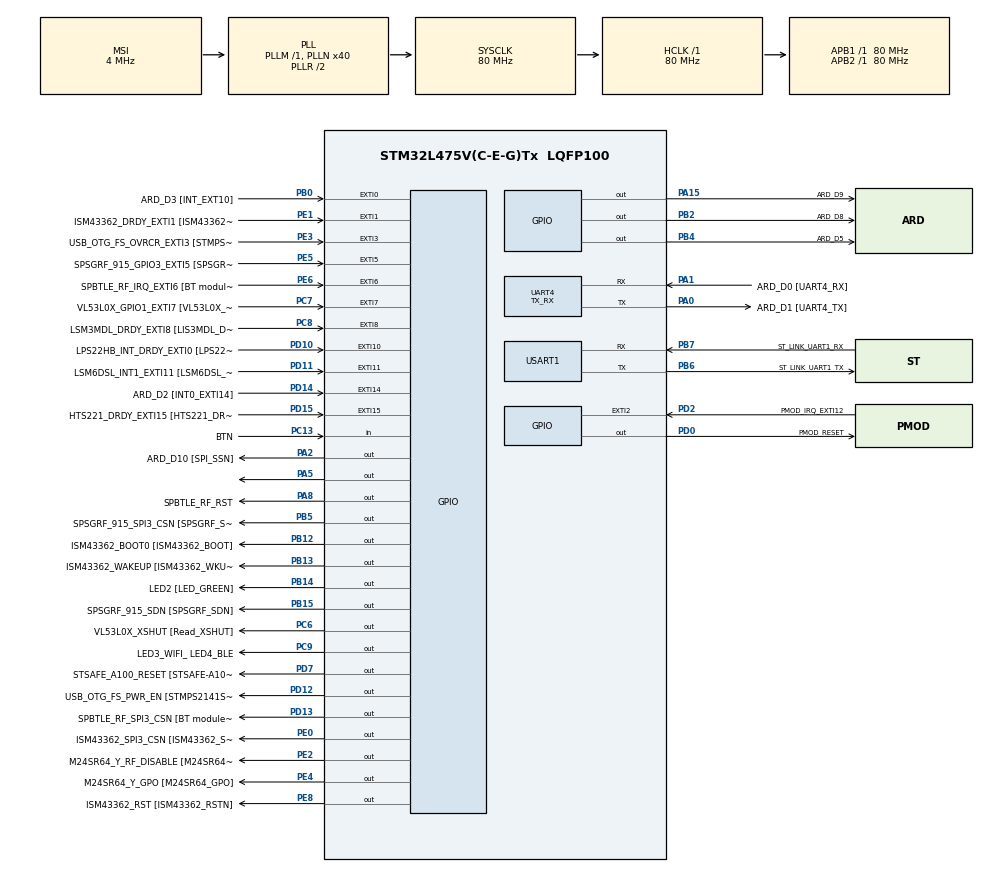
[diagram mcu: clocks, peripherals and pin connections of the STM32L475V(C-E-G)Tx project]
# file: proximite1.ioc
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Mcu.Family=STM32L4
Mcu.Name=STM32L475V(C-E-G)Tx
Mcu.Package=LQFP100
NVIC.EXTI15_10_IRQn=true\:0\:0\:false\:false\:true\:true\:true
NVIC.EXTI9_5_IRQn=true\:0\:0\:false\:false\:true\:true\:true
NVIC.PriorityGroup=NVIC_PRIORITYGROUP_4
PA0.GPIO_Label=ARD_D1 [UART4_TX]
PA0.Mode=Asynchronous
PA0.Signal=UART4_TX
PA1.GPIO_Label=ARD_D0 [UART4_RX]
PA1.Mode=Asynchronous
PA1.Signal=UART4_RX
PA10.GPIO_Label=USB_OTG_FS_ID
PA10.Signal=USB_OTG_FS_ID
PA11.GPIO_Label=USB_OTG_FS_DM
PA11.Signal=USB_OTG_FS_DM
PA12.GPIO_Label=USB_OTG_FS_DP
PA12.Signal=USB_OTG_FS_DP
PA13\ (JTMS-SWDIO).GPIO_Label=SYS_JTMS_SWDIO
PA13\ (JTMS-SWDIO).Mode=Serial_Wire
PA13\ (JTMS-SWDIO).Signal=SYS_JTMS-SWDIO
PA14\ (JTCK-SWCLK).GPIO_Label=SYS_JTCK_SWCLK
PA14\ (JTCK-SWCLK).Mode=Serial_Wire
PA14\ (JTCK-SWCLK).Signal=SYS_JTCK-SWCLK
PA15\ (JTDI).GPIO_Label=ARD_D9
PA15\ (JTDI).Signal=GPIO_Output
PA2.GPIO_Label=ARD_D10 [SPI_SSN]
PA2.Signal=GPIO_Output
PA3.GPIO_Label=ARD_D4
PA3.Signal=S_TIM2_CH4
PA4.GPIO_Label=ARD_D7
PA4.Signal=ADCx_IN9
PA5.Signal=GPIO_Output
PA6.GPIO_Label=ARD_D12 [SPI1_MISO]
PA6.Signal=SPI1_MISO
PA7.GPIO_Label=ARD_D11 [SPI1_MOSI]
PA7.Signal=SPI1_MOSI
PA8.GPIO_Label=SPBTLE_RF_RST
PA8.Signal=GPIO_Output
PA9.GPIO_Label=USB_OTG_FS_VBUS [STMPS2141STR_OUT]
PA9.Signal=USB_OTG_FS_VBUS
PB0.GPIO_Label=ARD_D3 [INT_EXT10]
PB0.Signal=GPXTI0
PB1.GPIO_Label=ARD_D6 [ADC1_IN6]
PB1.Signal=ADCx_IN16
PB10.GPIO_Label=INTERNAL_I2C2_SCL [VL53L0X_SCL]
PB10.Signal=I2C2_SCL
PB11.GPIO_Label=INTERNAL_I2C2_SDA [VL53L0X_SDA]
PB11.Signal=I2C2_SDA
PB12.GPIO_Label=ISM43362_BOOT0 [ISM43362_BOOT]
PB12.Signal=GPIO_Output
PB13.GPIO_Label=ISM43362_WAKEUP [ISM43362_WKUP]
PB13.Signal=GPIO_Output
PB14.GPIO_Label=LED2 [LED_GREEN]
PB14.Signal=GPIO_Output
PB15.GPIO_Label=SPSGRF_915_SDN [SPSGRF_SDN]
PB15.Signal=GPIO_Output
PB2.GPIO_Label=ARD_D8
PB2.Signal=GPIO_Output
PB3\ (JTDO-TRACESWO).GPIO_Label=SYS_JTD0_SWO
PB3\ (JTDO-TRACESWO).Signal=SYS_JTDO-SWO
PB4\ (NJTRST).GPIO_Label=ARD_D5
PB4\ (NJTRST).Signal=GPIO_Output
PB5.GPIO_Label=SPSGRF_915_SPI3_CSN [SPSGRF_SPI_CS]
PB5.PinState=GPIO_PIN_SET
PB5.Signal=GPIO_Output
PB6.GPIO_Label=ST_LINK_UART1_TX
PB6.Mode=Asynchronous
PB6.Signal=USART1_TX
PB7.GPIO_Label=ST_LINK_UART1_RX
PB7.Mode=Asynchronous
PB7.Signal=USART1_RX
PB8.GPIO_Label=ARD_D15 [I2C1_SCL]
PB8.Signal=I2C1_SCL
PB9.GPIO_Label=ARD_D14 [I2C1_SDA]
PB9.Signal=I2C1_SDA
PC0.GPIO_Label=ARD_A5 [ADC]
PC0.Signal=ADCx_IN1
PC1.GPIO_Label=ARD_A4 [ADC]
PC1.Signal=ADCx_IN2
PC10.GPIO_Label=INTERNAL_SPI3_SCK [BT module_SPI_SCLK] [ISM43362_SCK]
PC10.Signal=SPI3_SCK
PC11.GPIO_Label=INTERNAL_SPI3_MISO [BT module_SPI_MISO] [ISM43362_MISO]
PC11.Signal=SPI3_MISO
PC12.GPIO_Label=INTERNAL_SPI3_MOSI [BT module_SPI_MOSI] [ISM43362_MOSI]
PC12.Signal=SPI3_MOSI
PC13.GPIO_Label=BTN
PC13.Signal=GPIO_Input
PC14-OSC32_IN\ (PC14).Mode=LSE-External-Oscillator
PC14-OSC32_IN\ (PC14).Signal=RCC_OSC32_IN
PC15-OSC32_OUT\ (PC15).Mode=LSE-External-Oscillator
PC15-OSC32_OUT\ (PC15).Signal=RCC_OSC32_OUT
PC2.GPIO_Label=ARD_A3 [ADC]
PC2.Signal=ADCx_IN3
PC3.GPIO_Label=ARD_A2 [ADC]
PC3.Signal=ADCx_IN4
PC4.GPIO_Label=ARD_A1 [ADC]
PC4.Signal=ADCx_IN13
PC5.GPIO_Label=ARD_A0 [ADC]
PC5.Signal=ADCx_IN14
PC6.GPIO_Label=VL53L0X_XSHUT [Read_XSHUT]
PC6.Signal=GPIO_Output
PC7.GPIO_Label=VL53L0X_GPIO1_EXTI7 [VL53L0X_GPIO1]
PC7.Signal=GPXTI7
PC8.GPIO_Label=LSM3MDL_DRDY_EXTI8 [LIS3MDL_DRDY]
PC8.Signal=GPXTI8
PC9.GPIO_Label=LED3_WIFI_ LED4_BLE
PC9.Signal=GPIO_Output
PD0.GPIO_Label=PMOD_RESET
PD0.Signal=GPIO_Output
PD1.GPIO_Label=PMOD_SPI2_SCK
PD1.Signal=SPI2_SCK
PD10.GPIO_Label=LPS22HB_INT_DRDY_EXTI0 [LPS22HB_INT_DRDY] 
PD10.Signal=GPXTI10
PD11.GPIO_Label=LSM6DSL_INT1_EXTI11 [LSM6DSL_INT1]
PD11.Signal=GPXTI11
PD12.GPIO_Label=USB_OTG_FS_PWR_EN [STMPS2141STR_EN]
PD12.Signal=GPIO_Output
PD13.GPIO_Label=SPBTLE_RF_SPI3_CSN [BT module_SPI_CS]
PD13.PinState=GPIO_PIN_SET
PD13.Signal=GPIO_Output
PD14.GPIO_Label=ARD_D2 [INT0_EXTI14]
PD14.Signal=GPXTI14
PD15.GPIO_Label=HTS221_DRDY_EXTI15 [HTS221_DRDY]
PD15.Signal=GPXTI15
PD2.GPIO_Label=PMOD_IRQ_EXTI12
PD2.Signal=GPXTI2
PD3.GPIO_Label=PMOD_UART2_CTS
PD3.Signal=USART2_CTS
PD4.GPIO_Label=PMOD_UART2_RTS
PD4.Signal=USART2_RTS
PD5.GPIO_Label=PMOD_UART2_TX
PD5.Signal=USART2_TX
PD6.GPIO_Label=PMOD_UART2_RX
PD6.Signal=USART2_RX
PD7.GPIO_Label=STSAFE_A100_RESET [STSAFE-A100_RESET]
PD7.Signal=GPIO_Output
PD8.GPIO_Label=INTERNAL_UART3_TX [ISM43362_RX]
PD8.Signal=USART3_TX
PD9.GPIO_Label=INTERNAL_UART3_RX [ISM43362_TX]
PD9.Signal=USART3_RX
PE0.GPIO_Label=ISM43362_SPI3_CSN [ISM43362_SSN]
PE0.PinState=GPIO_PIN_SET
PE0.Signal=GPIO_Output
PE1.GPIO_Label=ISM43362_DRDY_EXTI1 [ISM43362_DATARDY]
PE1.Signal=GPXTI1
PE10.GPIO_Label=QUADSPI_CLK [MX25R6435F_SCLK]
PE10.Signal=QUADSPI_CLK
PE11.GPIO_Label=QUADSPI_NCS [MX25R6435F_SCLK]
PE11.Signal=QUADSPI_NCS
PE12.GPIO_Label=OQUADSPI_BK1_IO0 [MX25R6435F_IO0]
PE12.Signal=QUADSPI_BK1_IO0
PE13.GPIO_Label=QUADSPI_BK1_IO1 [MX25R6435F_IO1]
PE13.Signal=QUADSPI_BK1_IO1
PE14.GPIO_Label=QUAD_SPI_BK1_IO2 [MX25R6435F_IO2]
PE14.Signal=QUADSPI_BK1_IO2
PE15.GPIO_Label=QUAD_SPI_BK1_IO3 [MX25R6435F_IO3]
PE15.Signal=QUADSPI_BK1_IO3
PE2.GPIO_Label=M24SR64_Y_RF_DISABLE [M24SR64_RFDIS]
PE2.Signal=GPIO_Output
PE3.GPIO_Label=USB_OTG_FS_OVRCR_EXTI3 [STMPS2141STR_FAULT]
PE3.Signal=GPXTI3
PE4.GPIO_Label=M24SR64_Y_GPO [M24SR64_GPO]
PE4.Signal=GPIO_Output
PE5.GPIO_Label=SPSGRF_915_GPIO3_EXTI5 [SPSGRF_GPIO_3]
PE5.Signal=GPXTI5
PE6.GPIO_Label=SPBTLE_RF_IRQ_EXTI6 [BT module_SPI_IRQ]
PE6.Signal=GPXTI6
PE7.GPIO_Label=DFSDM1_DATIN2 [MP34DT01_DOUT]
PE7.Signal=S_DATAIN2DFSDM1
PE8.GPIO_Label=ISM43362_RST [ISM43362_RSTN]
PE8.Signal=GPIO_Output
PE9.GPIO_Label=DFSDM1_CKOUT [MP34DT01_CLK]
PE9.Signal=S_CKOUTDFSDM1
ProjectManager.HeapSize=0x200
ProjectManager.StackSize=0x400
ProjectManager.TargetToolchain=STM32CubeIDE
RCC.ADCFreq_Value=48000000
RCC.AHBFreq_Value=80000000
RCC.APB1Freq_Value=80000000
RCC.APB1TimFreq_Value=80000000
RCC.APB2Freq_Value=80000000
RCC.APB2TimFreq_Value=80000000
RCC.CortexFreq_Value=80000000
RCC.HCLKFreq_Value=80000000
RCC.HSE_VALUE=8000000
RCC.HSI_VALUE=16000000
RCC.MSI_VALUE=4000000
RCC.PLLN=40
RCC.PLLSAI1N=24
RCC.SYSCLKFreq_VALUE=80000000
RCC.SYSCLKSource=RCC_SYSCLKSOURCE_PLLCLK
RCC.USBFreq_Value=48000000
RCC.VCOOutputFreq_Value=160000000
SH.ADCx_IN1.0=ADC1_IN1
SH.ADCx_IN13.0=ADC1_IN13
SH.ADCx_IN14.0=ADC1_IN14
SH.ADCx_IN16.0=ADC1_IN16
SH.ADCx_IN2.0=ADC1_IN2
SH.ADCx_IN3.0=ADC1_IN3
SH.ADCx_IN4.0=ADC1_IN4
SH.ADCx_IN9.0=ADC1_IN9
SH.S_CKOUTDFSDM1.0=DFSDM1_CKOUT
SH.S_CKOUTDFSDM1.1=DFSDM1_CKOUT
SH.S_DATAIN2DFSDM1.0=DFSDM1_DATIN2
SH.S_TIM2_CH4.0=TIM2_CH4
UART4.Mode=MODE_TX_RX
USART1.VirtualMode-Asynchronous=VM_ASYNC
board=B-L475E-IOT01A2

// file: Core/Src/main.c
/* USER CODE BEGIN Header */
/**
  ******************************************************************************
  * @file           : main.c
  * @brief          : Main program body
  ******************************************************************************
  * @attention
  *
  * <h2><center>&copy; Copyright (c) 2021 STMicroelectronics.
  * All rights reserved.</center></h2>
  *
  * This software component is licensed by ST under BSD 3-Clause license,
  * the "License"; You may not use this file except in compliance with the
  * License. You may obtain a copy of the License at:
  *                        opensource.org/licenses/BSD-3-Clause
  *
  ******************************************************************************
  */
/* USER CODE END Header */
#include "main.h"

/* USER CODE BEGIN Includes */

#include "stm32l475e_iot01.h"
#include "stm32l475e_iot01_tsensor.h"
#include "stm32l475e_iot01_magneto.h"
#include "vl53l0x_proximity.h"
#include <math.h>

/* USER CODE END Includes */

UART_HandleTypeDef huart4;
UART_HandleTypeDef huart1;

/* USER CODE BEGIN PV */

// variables ajouté pour recuperation des valeurs
int8_t temp_value = 0;
uint8_t proximity_value = 0;
int16_t magneto_value [3];
char str_tmp[100] = "";
_Bool Reset_value;

/* USER CODE END PV */

void SystemClock_Config(void);
static void MX_GPIO_Init(void);
static void MX_USART1_UART_Init(void);
static void MX_UART4_Init(void);

int main(void)
{

  /* MCU Configuration--------------------------------------------------------*/

  /* Reset of all peripherals, Initializes the Flash interface and the Systick. */
  HAL_Init();

  /* USER CODE BEGIN Init */

  BSP_TSENSOR_Init();
  BSP_MAGNETO_Init();
  VL53L0X_PROXIMITY_MspInit();
  VL53L0X_PROXIMITY_Init();

  /* USER CODE END Init */

  /* Configure the system clock */
  SystemClock_Config();

  /* Initialize all configured peripherals */
  MX_GPIO_Init();
  MX_USART1_UART_Init();
  MX_UART4_Init();
  /* USER CODE BEGIN 2 */
  char str_rst[100] = "";
  char str_tmp[100] = "";
  /* USER CODE END 2 */

  /* Infinite loop */
  /* USER CODE BEGIN WHILE */
  while (1)
  {

	      Reset_value=HAL_GPIO_ReadPin(GPIOC, BTN_Pin);

	     snprintf(str_rst,100,"RESET_VALUE=%d\n\r", Reset_value);

	  	  HAL_UART_Transmit(&huart1,( uint8_t * )str_rst,sizeof(str_tmp),1000);

	  	  BSP_MAGNETO_GetXYZ(magneto_value);

	  	  proximity_value = VL53L0X_PROXIMITY_GetDistance();

	  	  uint16_t prox_value=proximity_value;

	  	  if(prox_value<2900)

	  	  {

	  	  temp_value = BSP_TSENSOR_ReadTemp();

	  	  int tmpInt1 = temp_value;

	  	  float tmpFrac = temp_value - tmpInt1;

	  	  int tmpInt2 = trunc(tmpFrac * 100);

	  	  snprintf(str_tmp,100,"TEMPERATURE_VALUE= %d.%02d\n\r", tmpInt1, tmpInt2);

	  	  HAL_UART_Transmit(&huart1,( uint8_t * )str_tmp,sizeof(str_tmp),1000);

	  	  }
	  HAL_Delay (3000);

	  // variable pour le debug GDB
	  /*  float print,print2,print3;
	  int tmpInt1 = temp_value;
	  print=magneto_value[0];
	  print2=magneto_value[1];
	  print3=magneto_value[2];*/

    /* USER CODE END WHILE */

  }
}

void SystemClock_Config(void)
{
  RCC_OscInitTypeDef RCC_OscInitStruct = {0};
  RCC_ClkInitTypeDef RCC_ClkInitStruct = {0};
  RCC_PeriphCLKInitTypeDef PeriphClkInit = {0};

  /** Configure LSE Drive Capability
  */
  HAL_PWR_EnableBkUpAccess();
  __HAL_RCC_LSEDRIVE_CONFIG(RCC_LSEDRIVE_LOW);
  /** Initializes the RCC Oscillators according to the specified parameters
  * in the RCC_OscInitTypeDef structure.
  */
  RCC_OscInitStruct.OscillatorType = RCC_OSCILLATORTYPE_LSE|RCC_OSCILLATORTYPE_MSI;
  RCC_OscInitStruct.LSEState = RCC_LSE_ON;
  RCC_OscInitStruct.MSIState = RCC_MSI_ON;
  RCC_OscInitStruct.MSICalibrationValue = 0;
  RCC_OscInitStruct.MSIClockRange = RCC_MSIRANGE_6;
  RCC_OscInitStruct.PLL.PLLState = RCC_PLL_ON;
  RCC_OscInitStruct.PLL.PLLSource = RCC_PLLSOURCE_MSI;
  RCC_OscInitStruct.PLL.PLLM = 1;
  RCC_OscInitStruct.PLL.PLLN = 40;
  RCC_OscInitStruct.PLL.PLLP = RCC_PLLP_DIV7;
  RCC_OscInitStruct.PLL.PLLQ = RCC_PLLQ_DIV2;
  RCC_OscInitStruct.PLL.PLLR = RCC_PLLR_DIV2;
  if (HAL_RCC_OscConfig(&RCC_OscInitStruct) != HAL_OK)
  {
    Error_Handler();
  }
  /** Initializes the CPU, AHB and APB buses clocks
  */
  RCC_ClkInitStruct.ClockType = RCC_CLOCKTYPE_HCLK|RCC_CLOCKTYPE_SYSCLK
                              |RCC_CLOCKTYPE_PCLK1|RCC_CLOCKTYPE_PCLK2;
  RCC_ClkInitStruct.SYSCLKSource = RCC_SYSCLKSOURCE_PLLCLK;
  RCC_ClkInitStruct.AHBCLKDivider = RCC_SYSCLK_DIV1;
  RCC_ClkInitStruct.APB1CLKDivider = RCC_HCLK_DIV1;
  RCC_ClkInitStruct.APB2CLKDivider = RCC_HCLK_DIV1;

  if (HAL_RCC_ClockConfig(&RCC_ClkInitStruct, FLASH_LATENCY_4) != HAL_OK)
  {
    Error_Handler();
  }
  PeriphClkInit.PeriphClockSelection = RCC_PERIPHCLK_USART1|RCC_PERIPHCLK_UART4;
  PeriphClkInit.Usart1ClockSelection = RCC_USART1CLKSOURCE_PCLK2;
  PeriphClkInit.Uart4ClockSelection = RCC_UART4CLKSOURCE_PCLK1;
  if (HAL_RCCEx_PeriphCLKConfig(&PeriphClkInit) != HAL_OK)
  {
    Error_Handler();
  }
  /** Configure the main internal regulator output voltage
  */
  if (HAL_PWREx_ControlVoltageScaling(PWR_REGULATOR_VOLTAGE_SCALE1) != HAL_OK)
  {
    Error_Handler();
  }
  /** Enable MSI Auto calibration
  */
  HAL_RCCEx_EnableMSIPLLMode();
}

static void MX_UART4_Init(void)
{

  huart4.Instance = UART4;
  huart4.Init.BaudRate = 115200;
  huart4.Init.WordLength = UART_WORDLENGTH_8B;
  huart4.Init.StopBits = UART_STOPBITS_1;
  huart4.Init.Parity = UART_PARITY_NONE;
  huart4.Init.Mode = UART_MODE_TX_RX;
  huart4.Init.HwFlowCtl = UART_HWCONTROL_NONE;
  huart4.Init.OverSampling = UART_OVERSAMPLING_16;
  huart4.Init.OneBitSampling = UART_ONE_BIT_SAMPLE_DISABLE;
  huart4.AdvancedInit.AdvFeatureInit = UART_ADVFEATURE_NO_INIT;
  if (HAL_UART_Init(&huart4) != HAL_OK)
  {
    Error_Handler();
  }

}

static void MX_USART1_UART_Init(void)
{

  huart1.Instance = USART1;
  huart1.Init.BaudRate = 115200;
  huart1.Init.WordLength = UART_WORDLENGTH_8B;
  huart1.Init.StopBits = UART_STOPBITS_1;
  huart1.Init.Parity = UART_PARITY_NONE;
  huart1.Init.Mode = UART_MODE_TX_RX;
  huart1.Init.HwFlowCtl = UART_HWCONTROL_NONE;
  huart1.Init.OverSampling = UART_OVERSAMPLING_16;
  huart1.Init.OneBitSampling = UART_ONE_BIT_SAMPLE_DISABLE;
  huart1.AdvancedInit.AdvFeatureInit = UART_ADVFEATURE_NO_INIT;
  if (HAL_UART_Init(&huart1) != HAL_OK)
  {
    Error_Handler();
  }

}

static void MX_GPIO_Init(void)
{
  GPIO_InitTypeDef GPIO_InitStruct = {0};

  /* GPIO Ports Clock Enable */
  __HAL_RCC_GPIOE_CLK_ENABLE();
  __HAL_RCC_GPIOC_CLK_ENABLE();
  __HAL_RCC_GPIOA_CLK_ENABLE();
  __HAL_RCC_GPIOB_CLK_ENABLE();
  __HAL_RCC_GPIOD_CLK_ENABLE();

  /*Configure GPIO pin Output Level */
  HAL_GPIO_WritePin(GPIOE, M24SR64_Y_RF_DISABLE_Pin|M24SR64_Y_GPO_Pin|ISM43362_RST_Pin, GPIO_PIN_RESET);

  /*Configure GPIO pin Output Level */
  HAL_GPIO_WritePin(GPIOA, ARD_D10_Pin|GPIO_PIN_5|SPBTLE_RF_RST_Pin|ARD_D9_Pin, GPIO_PIN_RESET);

  /*Configure GPIO pin Output Level */
  HAL_GPIO_WritePin(GPIOB, ARD_D8_Pin|ISM43362_BOOT0_Pin|ISM43362_WAKEUP_Pin|LED2_Pin
                          |SPSGRF_915_SDN_Pin|ARD_D5_Pin, GPIO_PIN_RESET);

  /*Configure GPIO pin Output Level */
  HAL_GPIO_WritePin(GPIOD, USB_OTG_FS_PWR_EN_Pin|PMOD_RESET_Pin|STSAFE_A100_RESET_Pin, GPIO_PIN_RESET);

  /*Configure GPIO pin Output Level */
  HAL_GPIO_WritePin(SPBTLE_RF_SPI3_CSN_GPIO_Port, SPBTLE_RF_SPI3_CSN_Pin, GPIO_PIN_SET);

  /*Configure GPIO pin Output Level */
  HAL_GPIO_WritePin(GPIOC, VL53L0X_XSHUT_Pin|LED3_WIFI__LED4_BLE_Pin, GPIO_PIN_RESET);

  /*Configure GPIO pin Output Level */
  HAL_GPIO_WritePin(SPSGRF_915_SPI3_CSN_GPIO_Port, SPSGRF_915_SPI3_CSN_Pin, GPIO_PIN_SET);

  /*Configure GPIO pin Output Level */
  HAL_GPIO_WritePin(ISM43362_SPI3_CSN_GPIO_Port, ISM43362_SPI3_CSN_Pin, GPIO_PIN_SET);

  /*Configure GPIO pins : M24SR64_Y_RF_DISABLE_Pin M24SR64_Y_GPO_Pin ISM43362_RST_Pin ISM43362_SPI3_CSN_Pin */
  GPIO_InitStruct.Pin = M24SR64_Y_RF_DISABLE_Pin|M24SR64_Y_GPO_Pin|ISM43362_RST_Pin|ISM43362_SPI3_CSN_Pin;
  GPIO_InitStruct.Mode = GPIO_MODE_OUTPUT_PP;
  GPIO_InitStruct.Pull = GPIO_NOPULL;
  GPIO_InitStruct.Speed = GPIO_SPEED_FREQ_LOW;
  HAL_GPIO_Init(GPIOE, &GPIO_InitStruct);

  /*Configure GPIO pins : USB_OTG_FS_OVRCR_EXTI3_Pin SPSGRF_915_GPIO3_EXTI5_Pin SPBTLE_RF_IRQ_EXTI6_Pin ISM43362_DRDY_EXTI1_Pin */
  GPIO_InitStruct.Pin = USB_OTG_FS_OVRCR_EXTI3_Pin|SPSGRF_915_GPIO3_EXTI5_Pin|SPBTLE_RF_IRQ_EXTI6_Pin|ISM43362_DRDY_EXTI1_Pin;
  GPIO_InitStruct.Mode = GPIO_MODE_IT_RISING;
  GPIO_InitStruct.Pull = GPIO_NOPULL;
  HAL_GPIO_Init(GPIOE, &GPIO_InitStruct);

  /*Configure GPIO pin : BTN_Pin */
  GPIO_InitStruct.Pin = BTN_Pin;
  GPIO_InitStruct.Mode = GPIO_MODE_INPUT;
  GPIO_InitStruct.Pull = GPIO_NOPULL;
  HAL_GPIO_Init(BTN_GPIO_Port, &GPIO_InitStruct);

  /*Configure GPIO pins : ARD_A5_Pin ARD_A4_Pin ARD_A3_Pin ARD_A2_Pin
                           ARD_A1_Pin ARD_A0_Pin */
  GPIO_InitStruct.Pin = ARD_A5_Pin|ARD_A4_Pin|ARD_A3_Pin|ARD_A2_Pin
                          |ARD_A1_Pin|ARD_A0_Pin;
  GPIO_InitStruct.Mode = GPIO_MODE_ANALOG_ADC_CONTROL;
  GPIO_InitStruct.Pull = GPIO_NOPULL;
  HAL_GPIO_Init(GPIOC, &GPIO_InitStruct);

  /*Configure GPIO pins : ARD_D10_Pin PA5 SPBTLE_RF_RST_Pin ARD_D9_Pin */
  GPIO_InitStruct.Pin = ARD_D10_Pin|GPIO_PIN_5|SPBTLE_RF_RST_Pin|ARD_D9_Pin;
  GPIO_InitStruct.Mode = GPIO_MODE_OUTPUT_PP;
  GPIO_InitStruct.Pull = GPIO_NOPULL;
  GPIO_InitStruct.Speed = GPIO_SPEED_FREQ_LOW;
  HAL_GPIO_Init(GPIOA, &GPIO_InitStruct);

  /*Configure GPIO pin : ARD_D4_Pin */
  GPIO_InitStruct.Pin = ARD_D4_Pin;
  GPIO_InitStruct.Mode = GPIO_MODE_AF_PP;
  GPIO_InitStruct.Pull = GPIO_NOPULL;
  GPIO_InitStruct.Speed = GPIO_SPEED_FREQ_LOW;
  GPIO_InitStruct.Alternate = GPIO_AF1_TIM2;
  HAL_GPIO_Init(ARD_D4_GPIO_Port, &GPIO_InitStruct);

  /*Configure GPIO pin : ARD_D7_Pin */
  GPIO_InitStruct.Pin = ARD_D7_Pin;
  GPIO_InitStruct.Mode = GPIO_MODE_ANALOG_ADC_CONTROL;
  GPIO_InitStruct.Pull = GPIO_NOPULL;
  HAL_GPIO_Init(ARD_D7_GPIO_Port, &GPIO_InitStruct);

  /*Configure GPIO pins : ARD_D12_Pin ARD_D11_Pin */
  GPIO_InitStruct.Pin = ARD_D12_Pin|ARD_D11_Pin;
  GPIO_InitStruct.Mode = GPIO_MODE_AF_PP;
  GPIO_InitStruct.Pull = GPIO_NOPULL;
  GPIO_InitStruct.Speed = GPIO_SPEED_FREQ_VERY_HIGH;
  GPIO_InitStruct.Alternate = GPIO_AF5_SPI1;
  HAL_GPIO_Init(GPIOA, &GPIO_InitStruct);

  /*Configure GPIO pin : ARD_D3_Pin */
  GPIO_InitStruct.Pin = ARD_D3_Pin;
  GPIO_InitStruct.Mode = GPIO_MODE_IT_RISING;
  GPIO_InitStruct.Pull = GPIO_NOPULL;
  HAL_GPIO_Init(ARD_D3_GPIO_Port, &GPIO_InitStruct);

  /*Configure GPIO pin : ARD_D6_Pin */
  GPIO_InitStruct.Pin = ARD_D6_Pin;
  GPIO_InitStruct.Mode = GPIO_MODE_ANALOG_ADC_CONTROL;
  GPIO_InitStruct.Pull = GPIO_NOPULL;
  HAL_GPIO_Init(ARD_D6_GPIO_Port, &GPIO_InitStruct);

  /*Configure GPIO pins : ARD_D8_Pin ISM43362_BOOT0_Pin ISM43362_WAKEUP_Pin LED2_Pin
                           SPSGRF_915_SDN_Pin ARD_D5_Pin SPSGRF_915_SPI3_CSN_Pin */
  GPIO_InitStruct.Pin = ARD_D8_Pin|ISM43362_BOOT0_Pin|ISM43362_WAKEUP_Pin|LED2_Pin
                          |SPSGRF_915_SDN_Pin|ARD_D5_Pin|SPSGRF_915_SPI3_CSN_Pin;
  GPIO_InitStruct.Mode = GPIO_MODE_OUTPUT_PP;
  GPIO_InitStruct.Pull = GPIO_NOPULL;
  GPIO_InitStruct.Speed = GPIO_SPEED_FREQ_LOW;
  HAL_GPIO_Init(GPIOB, &GPIO_InitStruct);

  /*Configure GPIO pins : DFSDM1_DATIN2_Pin DFSDM1_CKOUT_Pin */
  GPIO_InitStruct.Pin = DFSDM1_DATIN2_Pin|DFSDM1_CKOUT_Pin;
  GPIO_InitStruct.Mode = GPIO_MODE_AF_PP;
  GPIO_InitStruct.Pull = GPIO_NOPULL;
  GPIO_InitStruct.Speed = GPIO_SPEED_FREQ_LOW;
  GPIO_InitStruct.Alternate = GPIO_AF6_DFSDM1;
  HAL_GPIO_Init(GPIOE, &GPIO_InitStruct);

  /*Configure GPIO pins : QUADSPI_CLK_Pin QUADSPI_NCS_Pin OQUADSPI_BK1_IO0_Pin QUADSPI_BK1_IO1_Pin
                           QUAD_SPI_BK1_IO2_Pin QUAD_SPI_BK1_IO3_Pin */
  GPIO_InitStruct.Pin = QUADSPI_CLK_Pin|QUADSPI_NCS_Pin|OQUADSPI_BK1_IO0_Pin|QUADSPI_BK1_IO1_Pin
                          |QUAD_SPI_BK1_IO2_Pin|QUAD_SPI_BK1_IO3_Pin;
  GPIO_InitStruct.Mode = GPIO_MODE_AF_PP;
  GPIO_InitStruct.Pull = GPIO_NOPULL;
  GPIO_InitStruct.Speed = GPIO_SPEED_FREQ_VERY_HIGH;
  GPIO_InitStruct.Alternate = GPIO_AF10_QUADSPI;
  HAL_GPIO_Init(GPIOE, &GPIO_InitStruct);

  /*Configure GPIO pins : INTERNAL_I2C2_SCL_Pin INTERNAL_I2C2_SDA_Pin */
  GPIO_InitStruct.Pin = INTERNAL_I2C2_SCL_Pin|INTERNAL_I2C2_SDA_Pin;
  GPIO_InitStruct.Mode = GPIO_MODE_AF_OD;
  GPIO_InitStruct.Pull = GPIO_PULLUP;
  GPIO_InitStruct.Speed = GPIO_SPEED_FREQ_VERY_HIGH;
  GPIO_InitStruct.Alternate = GPIO_AF4_I2C2;
  HAL_GPIO_Init(GPIOB, &GPIO_InitStruct);

  /*Configure GPIO pins : INTERNAL_UART3_TX_Pin INTERNAL_UART3_RX_Pin */
  GPIO_InitStruct.Pin = INTERNAL_UART3_TX_Pin|INTERNAL_UART3_RX_Pin;
  GPIO_InitStruct.Mode = GPIO_MODE_AF_PP;
  GPIO_InitStruct.Pull = GPIO_NOPULL;
  GPIO_InitStruct.Speed = GPIO_SPEED_FREQ_VERY_HIGH;
  GPIO_InitStruct.Alternate = GPIO_AF7_USART3;
  HAL_GPIO_Init(GPIOD, &GPIO_InitStruct);

  /*Configure GPIO pins : LPS22HB_INT_DRDY_EXTI0_Pin LSM6DSL_INT1_EXTI11_Pin ARD_D2_Pin HTS221_DRDY_EXTI15_Pin
                           PMOD_IRQ_EXTI12_Pin */
  GPIO_InitStruct.Pin = LPS22HB_INT_DRDY_EXTI0_Pin|LSM6DSL_INT1_EXTI11_Pin|ARD_D2_Pin|HTS221_DRDY_EXTI15_Pin
                          |PMOD_IRQ_EXTI12_Pin;
  GPIO_InitStruct.Mode = GPIO_MODE_IT_RISING;
  GPIO_InitStruct.Pull = GPIO_NOPULL;
  HAL_GPIO_Init(GPIOD, &GPIO_InitStruct);

  /*Configure GPIO pins : USB_OTG_FS_PWR_EN_Pin SPBTLE_RF_SPI3_CSN_Pin PMOD_RESET_Pin STSAFE_A100_RESET_Pin */
  GPIO_InitStruct.Pin = USB_OTG_FS_PWR_EN_Pin|SPBTLE_RF_SPI3_CSN_Pin|PMOD_RESET_Pin|STSAFE_A100_RESET_Pin;
  GPIO_InitStruct.Mode = GPIO_MODE_OUTPUT_PP;
  GPIO_InitStruct.Pull = GPIO_NOPULL;
  GPIO_InitStruct.Speed = GPIO_SPEED_FREQ_LOW;
  HAL_GPIO_Init(GPIOD, &GPIO_InitStruct);

  /*Configure GPIO pins : VL53L0X_XSHUT_Pin LED3_WIFI__LED4_BLE_Pin */
  GPIO_InitStruct.Pin = VL53L0X_XSHUT_Pin|LED3_WIFI__LED4_BLE_Pin;
  GPIO_InitStruct.Mode = GPIO_MODE_OUTPUT_PP;
  GPIO_InitStruct.Pull = GPIO_NOPULL;
  GPIO_InitStruct.Speed = GPIO_SPEED_FREQ_LOW;
  HAL_GPIO_Init(GPIOC, &GPIO_InitStruct);

  /*Configure GPIO pins : VL53L0X_GPIO1_EXTI7_Pin LSM3MDL_DRDY_EXTI8_Pin */
  GPIO_InitStruct.Pin = VL53L0X_GPIO1_EXTI7_Pin|LSM3MDL_DRDY_EXTI8_Pin;
  GPIO_InitStruct.Mode = GPIO_MODE_IT_RISING;
  GPIO_InitStruct.Pull = GPIO_NOPULL;
  HAL_GPIO_Init(GPIOC, &GPIO_InitStruct);

  /*Configure GPIO pin : USB_OTG_FS_VBUS_Pin */
  GPIO_InitStruct.Pin = USB_OTG_FS_VBUS_Pin;
  GPIO_InitStruct.Mode = GPIO_MODE_INPUT;
  GPIO_InitStruct.Pull = GPIO_NOPULL;
  HAL_GPIO_Init(USB_OTG_FS_VBUS_GPIO_Port, &GPIO_InitStruct);

  /*Configure GPIO pins : USB_OTG_FS_ID_Pin USB_OTG_FS_DM_Pin USB_OTG_FS_DP_Pin */
  GPIO_InitStruct.Pin = USB_OTG_FS_ID_Pin|USB_OTG_FS_DM_Pin|USB_OTG_FS_DP_Pin;
  GPIO_InitStruct.Mode = GPIO_MODE_AF_PP;
  GPIO_InitStruct.Pull = GPIO_NOPULL;
  GPIO_InitStruct.Speed = GPIO_SPEED_FREQ_VERY_HIGH;
  GPIO_InitStruct.Alternate = GPIO_AF10_OTG_FS;
  HAL_GPIO_Init(GPIOA, &GPIO_InitStruct);

  /*Configure GPIO pins : INTERNAL_SPI3_SCK_Pin INTERNAL_SPI3_MISO_Pin INTERNAL_SPI3_MOSI_Pin */
  GPIO_InitStruct.Pin = INTERNAL_SPI3_SCK_Pin|INTERNAL_SPI3_MISO_Pin|INTERNAL_SPI3_MOSI_Pin;
  GPIO_InitStruct.Mode = GPIO_MODE_AF_PP;
  GPIO_InitStruct.Pull = GPIO_NOPULL;
  GPIO_InitStruct.Speed = GPIO_SPEED_FREQ_VERY_HIGH;
  GPIO_InitStruct.Alternate = GPIO_AF6_SPI3;
  HAL_GPIO_Init(GPIOC, &GPIO_InitStruct);

  /*Configure GPIO pin : PMOD_SPI2_SCK_Pin */
  GPIO_InitStruct.Pin = PMOD_SPI2_SCK_Pin;
  GPIO_InitStruct.Mode = GPIO_MODE_AF_PP;
  GPIO_InitStruct.Pull = GPIO_NOPULL;
  GPIO_InitStruct.Speed = GPIO_SPEED_FREQ_VERY_HIGH;
  GPIO_InitStruct.Alternate = GPIO_AF5_SPI2;
  HAL_GPIO_Init(PMOD_SPI2_SCK_GPIO_Port, &GPIO_InitStruct);

  /*Configure GPIO pins : PMOD_UART2_CTS_Pin PMOD_UART2_RTS_Pin PMOD_UART2_TX_Pin PMOD_UART2_RX_Pin */
  GPIO_InitStruct.Pin = PMOD_UART2_CTS_Pin|PMOD_UART2_RTS_Pin|PMOD_UART2_TX_Pin|PMOD_UART2_RX_Pin;
  GPIO_InitStruct.Mode = GPIO_MODE_AF_PP;
  GPIO_InitStruct.Pull = GPIO_NOPULL;
  GPIO_InitStruct.Speed = GPIO_SPEED_FREQ_VERY_HIGH;
  GPIO_InitStruct.Alternate = GPIO_AF7_USART2;
  HAL_GPIO_Init(GPIOD, &GPIO_InitStruct);

  /*Configure GPIO pins : ARD_D15_Pin ARD_D14_Pin */
  GPIO_InitStruct.Pin = ARD_D15_Pin|ARD_D14_Pin;
  GPIO_InitStruct.Mode = GPIO_MODE_AF_OD;
  GPIO_InitStruct.Pull = GPIO_PULLUP;
  GPIO_InitStruct.Speed = GPIO_SPEED_FREQ_VERY_HIGH;
  GPIO_InitStruct.Alternate = GPIO_AF4_I2C1;
  HAL_GPIO_Init(GPIOB, &GPIO_InitStruct);

  /* EXTI interrupt init*/
  HAL_NVIC_SetPriority(EXTI9_5_IRQn, 0, 0);
  HAL_NVIC_EnableIRQ(EXTI9_5_IRQn);

  HAL_NVIC_SetPriority(EXTI15_10_IRQn, 0, 0);
  HAL_NVIC_EnableIRQ(EXTI15_10_IRQn);

}

void Error_Handler(void)
{
}

/************************ (C) COPYRIGHT STMicroelectronics *****END OF FILE****/
